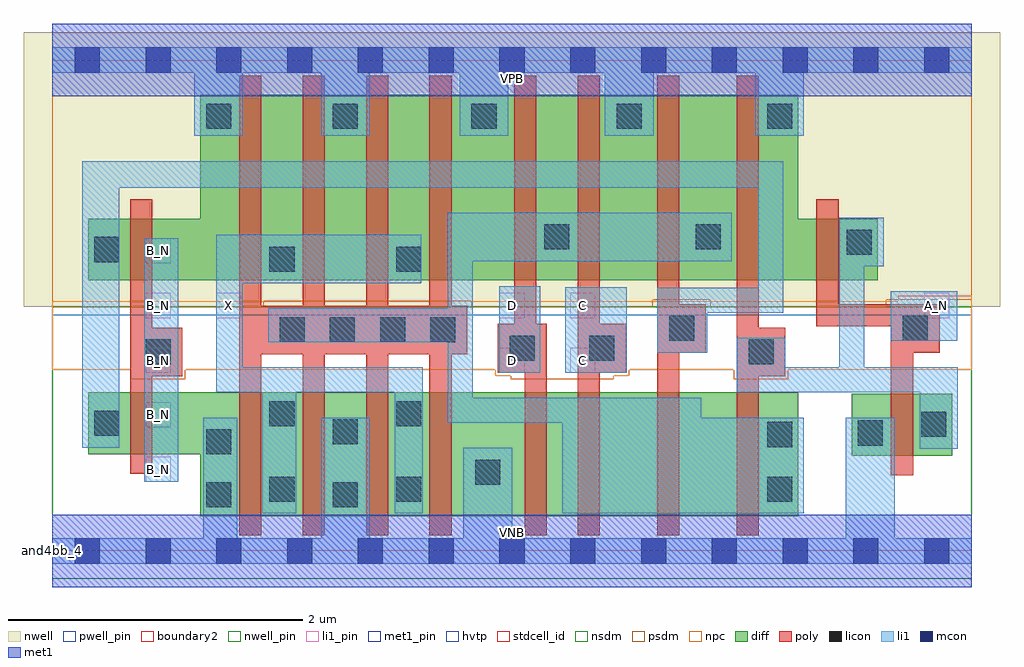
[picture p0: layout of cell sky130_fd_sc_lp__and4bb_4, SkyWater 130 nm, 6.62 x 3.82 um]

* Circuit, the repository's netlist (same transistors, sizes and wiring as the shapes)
* Copyright 2020 The SkyWater PDK Authors
*
* Licensed under the Apache License, Version 2.0 (the "License");
* you may not use this file except in compliance with the License.
* You may obtain a copy of the License at
*
*     https://www.apache.org/licenses/LICENSE-2.0
*
* Unless required by applicable law or agreed to in writing, software
* distributed under the License is distributed on an "AS IS" BASIS,
* WITHOUT WARRANTIES OR CONDITIONS OF ANY KIND, either express or implied.
* See the License for the specific language governing permissions and
* limitations under the License.
*
* SPDX-License-Identifier: Apache-2.0

.SUBCKT sky130_fd_sc_lp__and4bb_4 A_N B_N C D VGND VNB VPB VPWR X
*.PININFO A_N:I B_N:I C:I D:I VGND:I VNB:I VPB:I VPWR:I X:O
MMP0 y A VPWR VPB sky130_fd_pr__pfet_01v8_hvt m=1 w=1.26U l=0.15U mult=1 sa=0.265
+ sb=0.265 sd=0.28 area=0.063 perim=1.14
MMP1 y B VPWR VPB sky130_fd_pr__pfet_01v8_hvt m=1 w=1.26U l=0.15U mult=1 sa=0.265
+ sb=0.265 sd=0.28 area=0.063 perim=1.14
MMP2 y C VPWR VPB sky130_fd_pr__pfet_01v8_hvt m=1 w=1.26U l=0.15U mult=1 sa=0.265
+ sb=0.265 sd=0.28 area=0.063 perim=1.14
MMP3 y D VPWR VPB sky130_fd_pr__pfet_01v8_hvt m=1 w=1.26U l=0.15U mult=1 sa=0.265
+ sb=0.265 sd=0.28 area=0.063 perim=1.14
MMIP0 A A_N VPWR VPB sky130_fd_pr__pfet_01v8_hvt m=1 w=0.42U l=0.15U mult=1 sa=0.265
+ sb=0.265 sd=0.28 area=0.063 perim=1.14
MMIP1 B B_N VPWR VPB sky130_fd_pr__pfet_01v8_hvt m=1 w=0.42U l=0.15U mult=1 sa=0.265
+ sb=0.265 sd=0.28 area=0.063 perim=1.14
MMIP2 X y VPWR VPB sky130_fd_pr__pfet_01v8_hvt m=4 w=1.26U l=0.15U mult=1 sa=0.265
+ sb=0.265 sd=0.28 area=0.063 perim=1.14
MMN0 y A sndA VNB sky130_fd_pr__nfet_01v8 m=1 w=0.84U l=0.15U mult=1 sa=0.265 sb=0.265
+ sd=0.28 area=0.063 perim=1.14
MMN1 sndA B sndB VNB sky130_fd_pr__nfet_01v8 m=1 w=0.84U l=0.15U mult=1 sa=0.265
+ sb=0.265 sd=0.28 area=0.063 perim=1.14
MMN2 sndB C sndC VNB sky130_fd_pr__nfet_01v8 m=1 w=0.84U l=0.15U mult=1 sa=0.265
+ sb=0.265 sd=0.28 area=0.063 perim=1.14
MMN3 sndC D VGND VNB sky130_fd_pr__nfet_01v8 m=1 w=0.84U l=0.15U mult=1 sa=0.265
+ sb=0.265 sd=0.28 area=0.063 perim=1.14
MMIN0 A A_N VGND VNB sky130_fd_pr__nfet_01v8 m=1 w=0.42U l=0.15U mult=1 sa=0.265
+ sb=0.265 sd=0.28 area=0.063 perim=1.14
MMIN1 B B_N VGND VNB sky130_fd_pr__nfet_01v8 m=1 w=0.42U l=0.15U mult=1 sa=0.265
+ sb=0.265 sd=0.28 area=0.063 perim=1.14
MMIN2 X y VGND VNB sky130_fd_pr__nfet_01v8 m=4 w=0.84U l=0.15U mult=1 sa=0.265
+ sb=0.265 sd=0.28 area=0.063 perim=1.14
.ENDS sky130_fd_sc_lp__and4bb_4

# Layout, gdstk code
import gdstk
lib = gdstk.Library(unit=1e-6, precision=1e-09)
def R(c, l, rs):  # rectangles x0, y0, x1, y1
    for r in rs: c.add(gdstk.rectangle(r[:2], r[2:], *l))
def A(c, l, x, y, w, h, nx, ny, dx, dy):  # array of equal rectangles
    R(c, l, [(x+i*dx, y+j*dy, x+i*dx+w, y+j*dy+h) for i in range(nx) for j in range(ny)])
def P(c, l, *ps):  # polygons
    for p in ps: c.add(gdstk.Polygon(p, *l))
nwell_pin = (64, 16)
nwell = (64, 20)
diff = (65, 20)
poly = (66, 20)
licon = (66, 44)
li1_pin = (67, 16)
li1 = (67, 20)
mcon = (67, 44)
met1_pin = (68, 16)
met1 = (68, 20)
hvtp = (78, 44)
stdcell_id = (81, 4)
nsdm = (93, 44)
psdm = (94, 20)
npc = (95, 20)
pwell_pin = (122, 16)
boundary2 = (236, 0)

sky130_fd_sc_lp__and4bb_ = lib.new_cell('sky130_fd_sc_lp__and4bb_4')
R(sky130_fd_sc_lp__and4bb_, nwell_pin, [(0,3.085,6.24,3.33)])
R(sky130_fd_sc_lp__and4bb_, nwell, [(-0.19,1.655,6.43,3.52)])
R(sky130_fd_sc_lp__and4bb_, diff, [(5.425,0.645,6.105,1.065)])
P(sky130_fd_sc_lp__and4bb_, diff, [(5.06,1.075),(0.245,1.075),(0.245,0.655),(1.005,0.655),(1.005,0.235),(5.06,0.235)],
  [(5.6,2.255),(5.06,2.255),(5.06,3.095),(1.005,3.095),(1.005,2.255),(0.245,2.255),(0.245,1.835),(5.6,1.835)])
P(sky130_fd_sc_lp__and4bb_, poly, [(0.885,1.515),(0.68,1.515),(0.68,2.385),(0.53,2.385),(0.53,0.525),(0.68,0.525),(0.68,1.185),(0.885,1.185)],
  [(2.815,1.665),(2.71,1.665),(2.71,3.225),(2.56,3.225),(2.56,1.665),(2.28,1.665),(2.28,3.225),(2.13,3.225),(2.13,1.665),(1.85,1.665),(1.85,3.225),(1.7,3.225),(1.7,1.665),(1.42,1.665),(1.42,3.225),(1.27,3.225),(1.27,0.105),(1.42,0.105),(1.42,1.335),(1.7,1.335),(1.7,0.105),(1.85,0.105),(1.85,1.335),(2.13,1.335),(2.13,0.105),(2.28,0.105),(2.28,1.335),(2.56,1.335),(2.56,0.105),(2.71,0.105),(2.71,1.335),(2.815,1.335)],
  [(3.355,1.54),(3.285,1.54),(3.285,3.225),(3.135,3.225),(3.135,1.54),(3.025,1.54),(3.025,1.21),(3.205,1.21),(3.205,0.105),(3.355,0.105)],
  [(3.895,1.54),(3.715,1.54),(3.715,3.225),(3.565,3.225),(3.565,0.105),(3.715,0.105),(3.715,1.21),(3.895,1.21)],
  [(4.435,1.675),(4.255,1.675),(4.255,3.225),(4.105,3.225),(4.105,0.105),(4.255,0.105),(4.255,1.345),(4.435,1.345)],
  [(4.975,1.515),(4.795,1.515),(4.795,3.225),(4.645,3.225),(4.645,0.105),(4.795,0.105),(4.795,1.185),(4.975,1.185)],
  [(6.02,1.675),(5.335,1.675),(5.335,2.385),(5.185,2.385),(5.185,1.525),(5.69,1.525),(5.69,0.515),(5.84,0.515),(5.84,1.345),(6.02,1.345)])
A(sky130_fd_sc_lp__and4bb_, licon, 1.545, 1.415, 0.17, 0.17, 4, 1, 0.34, 0)
R(sky130_fd_sc_lp__and4bb_, licon, [(1.045,0.295,1.215,0.465), (1.905,0.295,2.075,0.465), (1.475,0.335,1.645,0.505), (2.335,0.335,2.505,0.505), (4.85,0.335,5.02,0.505), (2.87,0.45,3.04,0.62), (1.045,0.655,1.215,0.825), (4.85,0.705,5.02,0.875), (5.465,0.715,5.635,0.885), (1.905,0.725,2.075,0.895), (5.895,0.775,6.065,0.945), (0.285,0.78,0.455,0.95), (1.475,0.845,1.645,1.015), (2.335,0.845,2.505,1.015), (0.635,1.265,0.805,1.435), (4.725,1.265,4.895,1.435), (3.105,1.29,3.275,1.46), (3.645,1.29,3.815,1.46), (4.185,1.425,4.355,1.595), (5.77,1.425,5.94,1.595), (1.475,1.895,1.645,2.065), (2.335,1.895,2.505,2.065), (0.285,1.96,0.455,2.13), (5.39,2.01,5.56,2.18), (3.34,2.045,3.51,2.215), (4.365,2.045,4.535,2.215), (1.045,2.865,1.215,3.035), (1.905,2.865,2.075,3.035), (2.845,2.865,3.015,3.035), (3.83,2.865,4,3.035), (4.85,2.865,5.02,3.035)])
A(sky130_fd_sc_lp__and4bb_, li1_pin, 0.635, 0.47, 0.17, 0.17, 1, 5, 0, 0.37)
R(sky130_fd_sc_lp__and4bb_, li1_pin, [(3.035,1.21,3.205,1.38), (3.515,1.21,3.685,1.38), (1.115,1.58,1.285,1.75), (3.035,1.58,3.205,1.75), (3.515,1.58,3.685,1.75), (5.915,1.58,6.085,1.75)])
R(sky130_fd_sc_lp__and4bb_, li1, [(0.625,0.47,0.855,2.12), (3.035,1.21,3.31,1.795), (3.48,1.21,3.9,1.79), (5.69,1.425,6.14,1.76)])
P(sky130_fd_sc_lp__and4bb_, li1, [(2.515,1.245),(1.295,1.245),(1.295,1.815),(2.505,1.815),(2.505,2.145),(1.115,2.145),(1.115,1.075),(1.425,1.075),(1.425,0.255),(1.655,0.255),(1.655,1.075),(2.325,1.075),(2.325,0.255),(2.515,0.255)],
  [(6.24,0.085),(5.715,0.085),(5.715,0.905),(5.385,0.905),(5.385,0.085),(3.12,0.085),(3.12,0.7),(2.79,0.7),(2.79,0.085),(2.155,0.085),(2.155,0.905),(1.825,0.905),(1.825,0.085),(1.255,0.085),(1.255,0.905),(1.025,0.905),(1.025,0.085),(0,0.085),(0,-0.085),(6.24,-0.085)],
  [(4.96,2.645),(0.205,2.645),(0.205,0.7),(0.455,0.7),(0.455,2.465),(4.79,2.465),(4.79,1.785),(4.105,1.785),(4.105,1.345),(4.445,1.345),(4.445,1.615),(4.96,1.615)],
  [(5.1,0.905),(4.405,0.905),(4.405,1.04),(2.855,1.04),(2.855,1.965),(4.61,1.965),(4.61,2.295),(2.685,2.295),(2.685,1.645),(1.465,1.645),(1.465,1.415),(2.685,1.415),(2.685,0.87),(3.46,0.87),(3.46,0.255),(5.1,0.255)],
  [(6.145,1.245),(5.51,1.245),(5.51,1.93),(5.64,1.93),(5.64,2.26),(5.34,2.26),(5.34,1.245),(4.975,1.245),(4.975,1.445),(4.645,1.445),(4.645,1.075),(5.885,1.075),(5.885,0.695),(6.145,0.695)],
  [(6.24,3.415),(0,3.415),(0,3.245),(0.965,3.245),(0.965,2.815),(1.295,2.815),(1.295,3.245),(1.825,3.245),(1.825,2.815),(2.155,2.815),(2.155,3.245),(2.765,3.245),(2.765,2.815),(3.095,2.815),(3.095,3.245),(3.75,3.245),(3.75,2.815),(4.08,2.815),(4.08,3.245),(4.77,3.245),(4.77,2.815),(5.1,2.815),(5.1,3.245),(6.24,3.245)])
A(sky130_fd_sc_lp__and4bb_, mcon, 0.155, -0.085, 0.17, 0.17, 13, 2, 0.48, 3.33)
R(sky130_fd_sc_lp__and4bb_, met1_pin, [(0,0,6.24,0.245), (0,3.085,6.24,3.33)])
R(sky130_fd_sc_lp__and4bb_, met1, [(0,-0.245,6.24,0.245), (0,3.085,6.24,3.575)])
R(sky130_fd_sc_lp__and4bb_, hvtp, [(0,1.6,6.24,3.33)])
R(sky130_fd_sc_lp__and4bb_, stdcell_id, [(0,0,6.24,3.33)])
R(sky130_fd_sc_lp__and4bb_, nsdm, [(0,-0.19,6.24,1.655)])
P(sky130_fd_sc_lp__and4bb_, psdm, [(6.24,3.52),(0,3.52),(0,1.655),(1.435,1.655),(1.435,1.695),(2.845,1.695),(2.845,1.655),(4.075,1.655),(4.075,1.705),(4.465,1.705),(4.465,1.655),(5.66,1.655),(5.66,1.705),(6.24,1.705)])
P(sky130_fd_sc_lp__and4bb_, npc, [(6.24,1.73),(5.74,1.73),(5.74,1.695),(0,1.695),(0,1.23),(0.535,1.23),(0.535,1.165),(0.905,1.165),(0.905,1.23),(3.005,1.23),(3.005,1.19),(3.11,1.19),(3.11,1.165),(3.81,1.165),(3.81,1.19),(3.915,1.19),(3.915,1.23),(4.625,1.23),(4.625,1.165),(4.995,1.165),(4.995,1.23),(6.24,1.23)])
R(sky130_fd_sc_lp__and4bb_, pwell_pin, [(0,0,6.24,0.245)])
R(sky130_fd_sc_lp__and4bb_, boundary2, [(0,0,6.24,3.33)])
sky130_fd_sc_lp__and4bb_.add(gdstk.Label('VNB', (3.12,0.123), layer=64, texttype=59))
sky130_fd_sc_lp__and4bb_.add(gdstk.Label('VPB', (3.12,3.208), layer=64, texttype=5))
sky130_fd_sc_lp__and4bb_.add(gdstk.Label('and4bb_4', (0,0), layer=83, texttype=44))
sky130_fd_sc_lp__and4bb_.add(gdstk.Label('VPWR', (3.12,3.208), layer=68, texttype=5))
sky130_fd_sc_lp__and4bb_.add(gdstk.Label('VGND', (3.12,0.123), layer=68, texttype=5))
sky130_fd_sc_lp__and4bb_.add(gdstk.Label('C', (3.6,1.295), layer=67, texttype=5))
sky130_fd_sc_lp__and4bb_.add(gdstk.Label('C', (3.6,1.665), layer=67, texttype=5))
sky130_fd_sc_lp__and4bb_.add(gdstk.Label('D', (3.12,1.295), layer=67, texttype=5))
sky130_fd_sc_lp__and4bb_.add(gdstk.Label('D', (3.12,1.665), layer=67, texttype=5))
sky130_fd_sc_lp__and4bb_.add(gdstk.Label('A_N', (6,1.665), layer=67, texttype=5))
sky130_fd_sc_lp__and4bb_.add(gdstk.Label('B_N', (0.72,0.555), layer=67, texttype=5))
sky130_fd_sc_lp__and4bb_.add(gdstk.Label('B_N', (0.72,0.925), layer=67, texttype=5))
sky130_fd_sc_lp__and4bb_.add(gdstk.Label('B_N', (0.72,1.295), layer=67, texttype=5))
sky130_fd_sc_lp__and4bb_.add(gdstk.Label('B_N', (0.72,1.665), layer=67, texttype=5))
sky130_fd_sc_lp__and4bb_.add(gdstk.Label('B_N', (0.72,2.035), layer=67, texttype=5))
sky130_fd_sc_lp__and4bb_.add(gdstk.Label('X', (1.2,1.665), layer=67, texttype=5))

lib.write_gds('sky130_fd_sc_lp__and4bb_4.gds')
